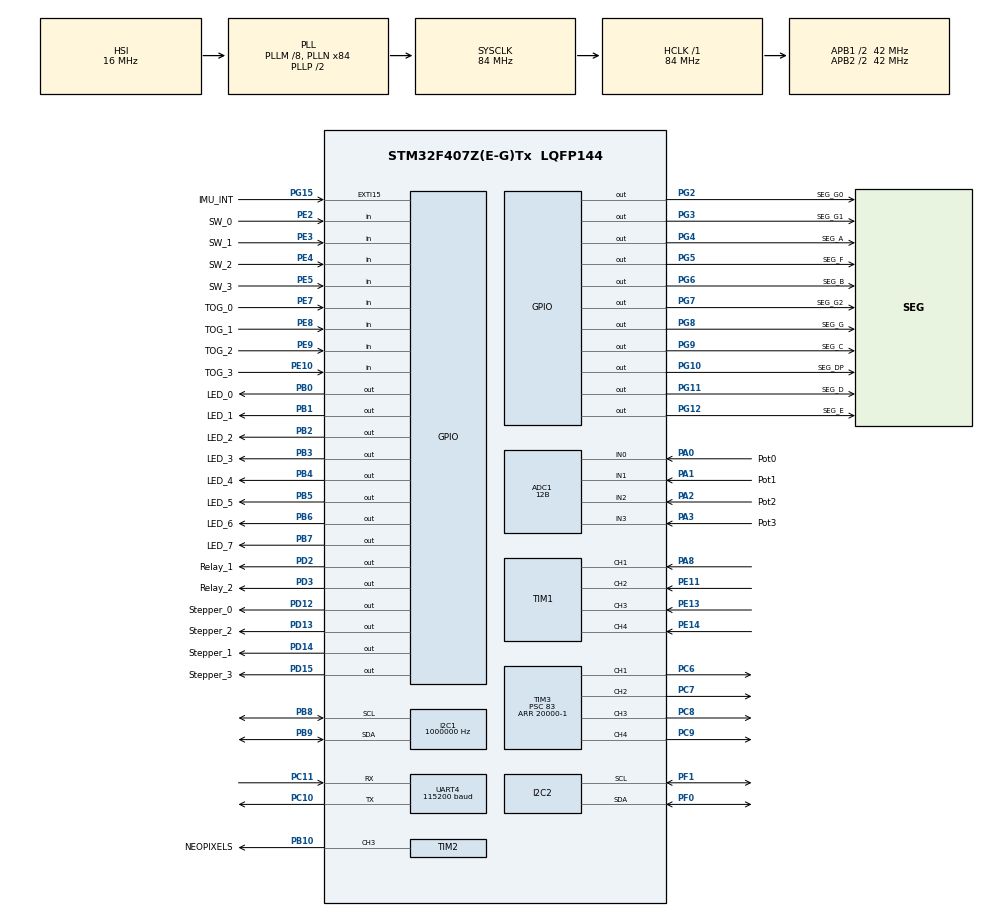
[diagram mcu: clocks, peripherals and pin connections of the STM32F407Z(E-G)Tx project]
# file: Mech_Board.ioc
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ADC1.Channel-0\#ChannelRegularConversion=ADC_CHANNEL_0
ADC1.Channel-1\#ChannelRegularConversion=ADC_CHANNEL_1
ADC1.Channel-2\#ChannelRegularConversion=ADC_CHANNEL_2
ADC1.Channel-3\#ChannelRegularConversion=ADC_CHANNEL_3
ADC1.ClockPrescaler=ADC_CLOCK_SYNC_PCLK_DIV8
ADC1.ContinuousConvMode=ENABLE
ADC1.DMAContinuousRequests=ENABLE
ADC1.DiscontinuousConvMode=DISABLE
ADC1.EOCSelection=ADC_EOC_SEQ_CONV
ADC1.NbrOfConversion=4
ADC1.NbrOfConversionFlag=1
ADC1.Rank-0\#ChannelRegularConversion=1
ADC1.Rank-1\#ChannelRegularConversion=2
ADC1.Rank-2\#ChannelRegularConversion=3
ADC1.Rank-3\#ChannelRegularConversion=4
ADC1.Resolution=ADC_RESOLUTION_12B
ADC1.SamplingTime-0\#ChannelRegularConversion=ADC_SAMPLETIME_3CYCLES
ADC1.SamplingTime-1\#ChannelRegularConversion=ADC_SAMPLETIME_3CYCLES
ADC1.SamplingTime-2\#ChannelRegularConversion=ADC_SAMPLETIME_3CYCLES
ADC1.SamplingTime-3\#ChannelRegularConversion=ADC_SAMPLETIME_3CYCLES
ADC1.ScanConvMode=ENABLE
ADC1.master=1
Dma.ADC1.1.Direction=DMA_PERIPH_TO_MEMORY
Dma.ADC1.1.FIFOMode=DMA_FIFOMODE_DISABLE
Dma.ADC1.1.Instance=DMA2_Stream0
Dma.ADC1.1.MemDataAlignment=DMA_MDATAALIGN_HALFWORD
Dma.ADC1.1.MemInc=DMA_MINC_ENABLE
Dma.ADC1.1.Mode=DMA_CIRCULAR
Dma.ADC1.1.PeriphDataAlignment=DMA_PDATAALIGN_HALFWORD
Dma.ADC1.1.PeriphInc=DMA_PINC_DISABLE
Dma.ADC1.1.Priority=DMA_PRIORITY_LOW
Dma.Request0=TIM2_UP/CH3
Dma.Request1=ADC1
Dma.Request2=UART4_RX
Dma.TIM2_UP/CH3.0.Direction=DMA_MEMORY_TO_PERIPH
Dma.TIM2_UP/CH3.0.FIFOMode=DMA_FIFOMODE_DISABLE
Dma.TIM2_UP/CH3.0.Instance=DMA1_Stream1
Dma.TIM2_UP/CH3.0.MemDataAlignment=DMA_MDATAALIGN_WORD
Dma.TIM2_UP/CH3.0.MemInc=DMA_MINC_ENABLE
Dma.TIM2_UP/CH3.0.Mode=DMA_NORMAL
Dma.TIM2_UP/CH3.0.PeriphDataAlignment=DMA_PDATAALIGN_WORD
Dma.TIM2_UP/CH3.0.PeriphInc=DMA_PINC_DISABLE
Dma.TIM2_UP/CH3.0.Priority=DMA_PRIORITY_MEDIUM
Dma.UART4_RX.2.Direction=DMA_PERIPH_TO_MEMORY
Dma.UART4_RX.2.FIFOMode=DMA_FIFOMODE_DISABLE
Dma.UART4_RX.2.Instance=DMA1_Stream2
Dma.UART4_RX.2.MemDataAlignment=DMA_MDATAALIGN_BYTE
Dma.UART4_RX.2.MemInc=DMA_MINC_ENABLE
Dma.UART4_RX.2.Mode=DMA_NORMAL
Dma.UART4_RX.2.PeriphDataAlignment=DMA_PDATAALIGN_BYTE
Dma.UART4_RX.2.PeriphInc=DMA_PINC_DISABLE
Dma.UART4_RX.2.Priority=DMA_PRIORITY_VERY_HIGH
I2C1.ClockSpeed=1000000
I2C1.I2C_Mode=I2C_Fast
I2C2.I2C_Mode=I2C_Standard
Mcu.Family=STM32F4
Mcu.Name=STM32F407Z(E-G)Tx
Mcu.Package=LQFP144
NVIC.DMA1_Stream1_IRQn=true\:0\:0\:true\:false\:true\:false\:true\:true
NVIC.DMA1_Stream2_IRQn=true\:0\:0\:false\:false\:true\:true\:true\:true
NVIC.DMA2_Stream0_IRQn=true\:0\:0\:false\:false\:true\:false\:true\:true
NVIC.EXTI15_10_IRQn=true\:0\:0\:false\:false\:true\:true\:true\:true
NVIC.PriorityGroup=NVIC_PRIORITYGROUP_4
NVIC.TIM1_CC_IRQn=true\:0\:0\:false\:false\:true\:true\:true\:true
NVIC.TIM2_IRQn=true\:0\:0\:false\:false\:true\:true\:true\:true
NVIC.TIM4_IRQn=true\:0\:0\:true\:false\:true\:true\:true\:true
NVIC.TIM5_IRQn=true\:0\:0\:false\:false\:true\:true\:true\:true
NVIC.TIM6_DAC_IRQn=true\:0\:0\:false\:false\:true\:true\:true\:true
NVIC.TIM7_IRQn=true\:0\:0\:true\:false\:true\:true\:true\:true
NVIC.TIM8_TRG_COM_TIM14_IRQn=true\:0\:0\:false\:false\:true\:true\:true\:true
NVIC.UART4_IRQn=true\:0\:0\:true\:false\:true\:true\:true\:true
PA0-WKUP.GPIO_Label=Pot0
PA0-WKUP.Signal=ADCx_IN0
PA1.GPIO_Label=Pot1
PA1.Signal=ADCx_IN1
PA2.GPIO_Label=Pot2
PA2.Signal=ADCx_IN2
PA3.GPIO_Label=Pot3
PA3.Signal=ADCx_IN3
PA8.Signal=S_TIM1_CH1
PB0.GPIO_Label=LED_0
PB0.Signal=GPIO_Output
PB1.GPIO_Label=LED_1
PB1.Signal=GPIO_Output
PB10.GPIO_Label=NEOPIXELS
PB10.GPIO_ModeDefaultPP=GPIO_MODE_AF_PP
PB10.GPIO_PuPd=GPIO_NOPULL
PB10.GPIO_Speed=GPIO_SPEED_FREQ_VERY_HIGH
PB10.Signal=S_TIM2_CH3
PB2.GPIO_Label=LED_2
PB2.Signal=GPIO_Output
PB3.GPIO_Label=LED_3
PB3.Signal=GPIO_Output
PB4.GPIO_Label=LED_4
PB4.Signal=GPIO_Output
PB5.GPIO_Label=LED_5
PB5.Signal=GPIO_Output
PB6.GPIO_Label=LED_6
PB6.Signal=GPIO_Output
PB7.GPIO_Label=LED_7
PB7.Signal=GPIO_Output
PB8.Mode=I2C
PB8.Signal=I2C1_SCL
PB9.Mode=I2C
PB9.Signal=I2C1_SDA
PC10.Mode=Asynchronous
PC10.Signal=UART4_TX
PC11.Mode=Asynchronous
PC11.Signal=UART4_RX
PC14-OSC32_IN.Mode=LSE-External-Oscillator
PC14-OSC32_IN.Signal=RCC_OSC32_IN
PC15-OSC32_OUT.Mode=LSE-External-Oscillator
PC15-OSC32_OUT.Signal=RCC_OSC32_OUT
PC6.Signal=S_TIM3_CH1
PC7.Signal=S_TIM3_CH2
PC8.Signal=S_TIM3_CH3
PC9.Signal=S_TIM3_CH4
PD12.GPIO_Label=Stepper_0
PD12.GPIO_Speed=GPIO_SPEED_FREQ_VERY_HIGH
PD12.Signal=GPIO_Output
PD13.GPIO_Label=Stepper_2
PD13.GPIO_Speed=GPIO_SPEED_FREQ_VERY_HIGH
PD13.Signal=GPIO_Output
PD14.GPIO_Label=Stepper_1
PD14.GPIO_Speed=GPIO_SPEED_FREQ_VERY_HIGH
PD14.Signal=GPIO_Output
PD15.GPIO_Label=Stepper_3
PD15.GPIO_Speed=GPIO_SPEED_FREQ_VERY_HIGH
PD15.Signal=GPIO_Output
PD2.GPIO_Label=Relay_1
PD2.GPIO_Speed=GPIO_SPEED_FREQ_VERY_HIGH
PD2.Signal=GPIO_Output
PD3.GPIO_Label=Relay_2
PD3.GPIO_Speed=GPIO_SPEED_FREQ_VERY_HIGH
PD3.Signal=GPIO_Output
PE10.GPIO_Label=TOG_3
PE10.Signal=GPIO_Input
PE11.Signal=S_TIM1_CH2
PE13.Signal=S_TIM1_CH3
PE14.Signal=S_TIM1_CH4
PE2.GPIO_Label=SW_0
PE2.Signal=GPIO_Input
PE3.GPIO_Label=SW_1
PE3.Signal=GPIO_Input
PE4.GPIO_Label=SW_2
PE4.Signal=GPIO_Input
PE5.GPIO_Label=SW_3
PE5.Signal=GPIO_Input
PE7.GPIO_Label=TOG_0
PE7.Signal=GPIO_Input
PE8.GPIO_Label=TOG_1
PE8.Signal=GPIO_Input
PE9.GPIO_Label=TOG_2
PE9.Signal=GPIO_Input
PF0.Mode=I2C
PF0.Signal=I2C2_SDA
PF1.Mode=I2C
PF1.Signal=I2C2_SCL
PG10.GPIO_Label=SEG_DP
PG10.Signal=GPIO_Output
PG11.GPIO_Label=SEG_D
PG11.GPIO_Speed=GPIO_SPEED_FREQ_VERY_HIGH
PG11.Signal=GPIO_Output
PG12.GPIO_Label=SEG_E
PG12.GPIO_Speed=GPIO_SPEED_FREQ_VERY_HIGH
PG12.PinState=GPIO_PIN_RESET
PG12.Signal=GPIO_Output
PG15.GPIO_Label=IMU_INT
PG15.GPIO_ModeDefaultEXTI=GPIO_MODE_IT_FALLING
PG15.GPIO_PuPd=GPIO_PULLUP
PG15.Signal=GPXTI15
PG2.GPIO_Label=SEG_G0
PG2.PinState=GPIO_PIN_RESET
PG2.Signal=GPIO_Output
PG3.GPIO_Label=SEG_G1
PG3.Signal=GPIO_Output
PG4.GPIO_Label=SEG_A
PG4.GPIO_Speed=GPIO_SPEED_FREQ_LOW
PG4.PinState=GPIO_PIN_RESET
PG4.Signal=GPIO_Output
PG5.GPIO_Label=SEG_F
PG5.GPIO_Speed=GPIO_SPEED_FREQ_LOW
PG5.Signal=GPIO_Output
PG6.GPIO_Label=SEG_B
PG6.GPIO_Speed=GPIO_SPEED_FREQ_LOW
PG6.Signal=GPIO_Output
PG7.GPIO_Label=SEG_G2
PG7.Signal=GPIO_Output
PG8.GPIO_Label=SEG_G
PG8.GPIO_Speed=GPIO_SPEED_FREQ_VERY_HIGH
PG8.Signal=GPIO_Output
PG9.GPIO_Label=SEG_C
PG9.GPIO_Speed=GPIO_SPEED_FREQ_VERY_HIGH
PG9.Signal=GPIO_Output
PH0-OSC_IN.Mode=HSE-External-Oscillator
PH0-OSC_IN.Signal=RCC_OSC_IN
PH1-OSC_OUT.Mode=HSE-External-Oscillator
PH1-OSC_OUT.Signal=RCC_OSC_OUT
ProjectManager.HeapSize=0x200
ProjectManager.StackSize=0x400
ProjectManager.TargetToolchain=Makefile
RCC.48MHZClocksFreq_Value=42000000
RCC.AHBFreq_Value=84000000
RCC.APB1CLKDivider=RCC_HCLK_DIV2
RCC.APB1Freq_Value=42000000
RCC.APB1TimFreq_Value=84000000
RCC.APB2CLKDivider=RCC_HCLK_DIV2
RCC.APB2Freq_Value=42000000
RCC.APB2TimFreq_Value=84000000
RCC.CortexFreq_Value=84000000
RCC.HCLKFreq_Value=84000000
RCC.HSE_VALUE=25000000
RCC.HSI_VALUE=16000000
RCC.PLLM=8
RCC.PLLN=84
RCC.SYSCLKFreq_VALUE=84000000
RCC.SYSCLKSource=RCC_SYSCLKSOURCE_PLLCLK
RCC.VCOOutputFreq_Value=168000000
SH.ADCx_IN0.0=ADC1_IN0,IN0
SH.ADCx_IN1.0=ADC1_IN1,IN1
SH.ADCx_IN2.0=ADC1_IN2,IN2
SH.ADCx_IN3.0=ADC1_IN3,IN3
SH.S_TIM1_CH1.0=TIM1_CH1,Input_Capture1_from_TI1
SH.S_TIM1_CH2.0=TIM1_CH2,Input_Capture2_from_TI2
SH.S_TIM1_CH3.0=TIM1_CH3,Input_Capture3_from_TI3
SH.S_TIM1_CH4.0=TIM1_CH4,Input_Capture4_from_TI4
SH.S_TIM2_CH3.0=TIM2_CH3,PWM Generation3 CH3
SH.S_TIM3_CH1.0=TIM3_CH1,PWM Generation1 CH1
SH.S_TIM3_CH2.0=TIM3_CH2,PWM Generation2 CH2
SH.S_TIM3_CH3.0=TIM3_CH3,PWM Generation3 CH3
SH.S_TIM3_CH4.0=TIM3_CH4,PWM Generation4 CH4
TIM1.Channel-Input_Capture1_from_TI1=TIM_CHANNEL_1
TIM1.Channel-Input_Capture2_from_TI2=TIM_CHANNEL_2
TIM1.Channel-Input_Capture3_from_TI3=TIM_CHANNEL_3
TIM1.Channel-Input_Capture4_from_TI4=TIM_CHANNEL_4
TIM1.ICPolarity_CH1=TIM_INPUTCHANNELPOLARITY_BOTHEDGE
TIM1.ICPolarity_CH2=TIM_INPUTCHANNELPOLARITY_BOTHEDGE
TIM1.ICPolarity_CH3=TIM_INPUTCHANNELPOLARITY_BOTHEDGE
TIM1.ICPolarity_CH4=TIM_INPUTCHANNELPOLARITY_BOTHEDGE
TIM14.AutoReloadPreload=TIM_AUTORELOAD_PRELOAD_ENABLE
TIM14.Period=1000-1
TIM14.Prescaler=8400-1
TIM2.AutoReloadPreload=TIM_AUTORELOAD_PRELOAD_DISABLE
TIM2.Channel-PWM\ Generation3\ CH3=TIM_CHANNEL_3
TIM2.OCFastMode_PWM-PWM\ Generation3\ CH3=TIM_OCFAST_DISABLE
TIM2.Period=104
TIM2.Prescaler=0
TIM3.AutoReloadPreload=TIM_AUTORELOAD_PRELOAD_ENABLE
TIM3.Channel-PWM\ Generation1\ CH1=TIM_CHANNEL_1
TIM3.Channel-PWM\ Generation2\ CH2=TIM_CHANNEL_2
TIM3.Channel-PWM\ Generation3\ CH3=TIM_CHANNEL_3
TIM3.Channel-PWM\ Generation4\ CH4=TIM_CHANNEL_4
TIM3.Period=20000-1
TIM3.Prescaler=83
TIM4.AutoReloadPreload=TIM_AUTORELOAD_PRELOAD_ENABLE
TIM4.ClockDivision=TIM_CLOCKDIVISION_DIV1
TIM4.Period=8400
TIM4.Prescaler=9999
TIM5.Period=10000-1
TIM5.Prescaler=(8400/3/60)-1
TIM6.AutoReloadPreload=TIM_AUTORELOAD_PRELOAD_ENABLE
TIM6.Period=1000-1
TIM6.Prescaler=8400-1
TIM7.Period=10000-1
TIM7.Prescaler=(8400/3/240)-1
UART4.BaudRate=115200
UART4.VirtualMode=Asynchronous
VP_TIM14_VS_ClockSourceINT.Mode=Enable_Timer
VP_TIM1_VS_ClockSourceINT.Mode=Internal
VP_TIM2_VS_ClockSourceINT.Mode=Internal
VP_TIM3_VS_ClockSourceINT.Mode=Internal
VP_TIM4_VS_ClockSourceINT.Mode=Internal
VP_TIM5_VS_ClockSourceINT.Mode=Internal
VP_TIM6_VS_ClockSourceINT.Mode=Enable_Timer
VP_TIM7_VS_ClockSourceINT.Mode=Enable_Timer
VP_TIM8_VS_ClockSourceINT.Mode=Internal
board=custom

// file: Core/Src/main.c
/* USER CODE BEGIN Header */
/**
  ******************************************************************************
  * @file           : main.c
  * @brief          : Main program body
  * @authors        : Jesse Jabez Arendse
  ******************************************************************************
  * @attention
  *
  * Copyright (c) 2023 STMicroelectronics.
  * All rights reserved.
  *
  * This software is licensed under terms that can be found in the LICENSE file
  * in the root directory of this software component.
  * If no LICENSE file comes with this software, it is provided AS-IS.
  *
  ******************************************************************************
  */
/* USER CODE END Header */
#include "main.h"

/* USER CODE BEGIN Includes */
#include <math.h>
#include <string.h>
#include <stdio.h>
#include <stdbool.h>

#include "7SegDisplay.h"
#include "CurrentMonitor.h"
#include "Pots.h"
#include "IMU.h"
#include "StepperMotor.h"
#include "ServoMotors.h"
#include "Relays.h"
#include "NeoPixels.h"
#include "USB.h"

/* USER CODE END Includes */

/* USER CODE BEGIN PTD */
typedef enum {
    WAITING_FOR_HEADER,
	WAITING_FOR_DATA,
    RESPONDING
} fsm;

/* USER CODE END PTD */

/* USER CODE BEGIN PD */
#define MPU_ADDRESS		0b1101001<<1

#define DATA_LEN 19

/* USER CODE END PD */

ADC_HandleTypeDef hadc1;
DMA_HandleTypeDef hdma_adc1;

I2C_HandleTypeDef hi2c1;
I2C_HandleTypeDef hi2c2;

TIM_HandleTypeDef htim1;
TIM_HandleTypeDef htim2;
TIM_HandleTypeDef htim3;
TIM_HandleTypeDef htim4;
TIM_HandleTypeDef htim5;
TIM_HandleTypeDef htim6;
TIM_HandleTypeDef htim7;
TIM_HandleTypeDef htim8;
TIM_HandleTypeDef htim14;
DMA_HandleTypeDef hdma_tim2_up_ch3;

UART_HandleTypeDef huart4;
DMA_HandleTypeDef hdma_uart4_rx;

/* USER CODE BEGIN PV */

uint16_t POTS[ADC_CHANNEL_NUM];
const uint8_t adcChannelCount = 4;

volatile bool switch_states[8];
uint8_t switch_states_uint8 = 0;

volatile bool LED_states[8];

volatile bool Relay_states[8];

volatile uint8_t NeoPixel_states[4][3];

// X,Y,Z
volatile float IMU_Accel[3];
volatile float IMU_Gyro[3];

// V,I
volatile int16_t CurrentMonitor_Barrel[2];
volatile int16_t CurrentMonitor_Servo[2];
volatile int16_t CurrentMonitor_Stepper[2];

volatile uint8_t SEG_number_state[4];
float actualSegNumber = 0.0f;

volatile uint8_t Servo_state[4][3][2];
uint16_t actualServoState[4][3];

volatile uint8_t StepperMode_state;
volatile uint8_t StepperRevolution_state[2];
uint16_t actualStepperRevolution = 0;
volatile uint8_t StepperSpeed_state[2];
uint16_t actualStepperNumber = 0;

const uint8_t header1 = 0b10010010; //seemed unique enough
const uint8_t header2 = 0b01001001;

char message[] = "Transmission\r\n"; /* Message to be transmitted through UART */

fsm state = WAITING_FOR_HEADER;

uint8_t cmd_id = 0x00;

/* USER CODE END PV */

void SystemClock_Config(void);
static void MX_GPIO_Init(void);
static void MX_DMA_Init(void);
static void MX_TIM2_Init(void);
static void MX_I2C1_Init(void);
static void MX_ADC1_Init(void);
static void MX_TIM7_Init(void);
static void MX_TIM6_Init(void);
static void MX_I2C2_Init(void);
static void MX_TIM4_Init(void);
static void MX_TIM1_Init(void);
static void MX_TIM3_Init(void);
static void MX_TIM5_Init(void);
static void MX_UART4_Init(void);
static void MX_TIM14_Init(void);
static void MX_TIM8_Init(void);
/* USER CODE BEGIN PFP */

// converts bool array to a 8-bit byte for easy register writing
uint8_t toByte(bool bool_array[]){
  return (bool_array[0]<<7|
          bool_array[1]<<6|
          bool_array[2]<<5|
          bool_array[3]<<4|
          bool_array[4]<<3|
          bool_array[5]<<2|
          bool_array[6]<<1|
          bool_array[7]<<0
  );
}

int32_t signNumber32(uint32_t unsignedValue){
	int32_t signedValue;

	if (unsignedValue <= INT32_MAX) {
        signedValue = (int32_t)unsignedValue; // No change needed, it fits in the signed range.
    } else {
        signedValue = -((int32_t)(UINT32_MAX - unsignedValue + 1));
    }

	return signedValue;
}

/* USER CODE END PFP */

/* USER CODE BEGIN 0 */

uint8_t UART4_txBuffer[6] = {0};

void sendToSimulink(void){
  // Get toggle states
	switch_states[7] = HAL_GPIO_ReadPin(TOG_0_GPIO_Port, TOG_0_Pin);
	switch_states[6] = HAL_GPIO_ReadPin(TOG_1_GPIO_Port, TOG_1_Pin);
	switch_states[5] = HAL_GPIO_ReadPin(TOG_2_GPIO_Port, TOG_2_Pin);
	switch_states[4] = HAL_GPIO_ReadPin(TOG_3_GPIO_Port, TOG_3_Pin);
	// Get button states (inverted because normally high)
	switch_states[3] = !HAL_GPIO_ReadPin(SW_0_GPIO_Port, SW_0_Pin);
	switch_states[2] = !HAL_GPIO_ReadPin(SW_1_GPIO_Port, SW_1_Pin);
	switch_states[1] = !HAL_GPIO_ReadPin(SW_2_GPIO_Port, SW_2_Pin);
	switch_states[0] = !HAL_GPIO_ReadPin(SW_3_GPIO_Port, SW_3_Pin);

  switch_states_uint8 = toByte(switch_states);

    HAL_UART_Transmit(&huart4, (uint8_t *)&header1, sizeof(header1), 10);
    HAL_UART_Transmit(&huart4, (uint8_t *)&POTS, sizeof(POTS), 10);
    HAL_UART_Transmit(&huart4, (uint8_t *)&switch_states_uint8, sizeof(switch_states_uint8), 10);
    HAL_UART_Transmit(&huart4, (float_t *)&IMU_Accel, sizeof(IMU_Accel), 10);
    HAL_UART_Transmit(&huart4, (float_t *)&IMU_Gyro, sizeof(IMU_Gyro), 10);

    HAL_UART_Transmit(&huart4, (int16_t *)&CurrentMonitor_Barrel, sizeof(CurrentMonitor_Barrel), 10);
    HAL_UART_Transmit(&huart4, (int16_t *)&CurrentMonitor_Servo, sizeof(CurrentMonitor_Servo), 10);
    HAL_UART_Transmit(&huart4, (int16_t *)&CurrentMonitor_Stepper, sizeof(CurrentMonitor_Stepper), 10);
}

void updateBoard(void){
// Update LED states
	HAL_GPIO_WritePin(LED_0_GPIO_Port, LED_0_Pin, LED_states[0]);
	HAL_GPIO_WritePin(LED_1_GPIO_Port, LED_1_Pin, LED_states[1]);
	HAL_GPIO_WritePin(LED_2_GPIO_Port, LED_2_Pin, LED_states[2]);
	HAL_GPIO_WritePin(LED_3_GPIO_Port, LED_3_Pin, LED_states[3]);
	HAL_GPIO_WritePin(LED_4_GPIO_Port, LED_4_Pin, LED_states[4]);
	HAL_GPIO_WritePin(LED_5_GPIO_Port, LED_5_Pin, LED_states[5]);
	HAL_GPIO_WritePin(LED_6_GPIO_Port, LED_6_Pin, LED_states[6]);
	HAL_GPIO_WritePin(LED_7_GPIO_Port, LED_7_Pin, LED_states[7]);

// Update Relays states
  setRelay(RELAY_1,Relay_states[0]);
  setRelay(RELAY_2,Relay_states[1]);

// Update NeoPixels
  for (int i = 0 ; i<4 ; i++){
  set_RGB(NeoPixel_states[i][0],NeoPixel_states[i][1],NeoPixel_states[i][2],i);
  }

//Update 7-Seg
  actualSegNumber = (SEG_number_state[0] << 8*0)
                      | (SEG_number_state[1] << 8*1)
                      | (SEG_number_state[2] << 8*2)
                      | (SEG_number_state[3] << 8*3);
  actualSegNumber = actualSegNumber/1000.0f;
  setFloatNumber(actualSegNumber);

//Update Servo Motors
  for (int i = 0 ; i < 4 ; i++){
    actualServoState[i][0] = (Servo_state[i][0][0] << 8*0) | (Servo_state[i][0][1] << 8*1);
    actualServoState[i][1] = (Servo_state[i][1][0] << 8*0) | (Servo_state[i][1][1] << 8*1);
    actualServoState[i][2] = (Servo_state[i][2][0] << 8*0) | (Servo_state[i][2][1] << 8*1);

    if (actualServoState[i][0] != 0){
      init_ServoMotor(i+1,SERVO_FREQUENCY_50,actualServoState[i][0],actualServoState[i][1]);
      setServoAngle(i+1,actualServoState[i][2]);
    }
  }

// Update Stepper Motor
  actualStepperRevolution = ((StepperRevolution_state[0] << 8*1)
                         | (StepperRevolution_state[1] << 8*0));

  actualStepperNumber = ((StepperSpeed_state[0] << 8*1)
                         | (StepperSpeed_state[1] << 8*0));

  init_StepperMotor(StepperMode_state,actualStepperRevolution,WITHOUT_LEDS);
  setStepperSpeed(actualStepperNumber);

}

bool timedout = false;
uint8_t headerBuffer[2];
uint8_t bigBuffer[49] = {0};
uint8_t UART4_rxBuffer[47] = {0};

void receivedFromSimulink(){
  // check for recognised header byte

  if (bigBuffer[0] == header1 && bigBuffer[1] == header2){

      for (int i = 0 ; i < sizeof(UART4_rxBuffer) ; i++){
        UART4_rxBuffer[i] = bigBuffer[i+2];
      }
// LEDs
      for (int i = 7; i >= 0; i--) {
        LED_states[i] = (UART4_rxBuffer[0 ] >> i) & 1;
      }

// Relays
      for (int i = 7; i >= 0; i--) {
        Relay_states[i] = (UART4_rxBuffer[1 ] >> i) & 1;
      }

// NeoPixels
      NeoPixel_states[0][0] = UART4_rxBuffer[2  ];
      NeoPixel_states[0][1] = UART4_rxBuffer[3  ];
      NeoPixel_states[0][2] = UART4_rxBuffer[4  ];

      NeoPixel_states[1][0] = UART4_rxBuffer[5  ];
      NeoPixel_states[1][1] = UART4_rxBuffer[6  ];
      NeoPixel_states[1][2] = UART4_rxBuffer[7  ];

      NeoPixel_states[2][0] = UART4_rxBuffer[8  ];
      NeoPixel_states[2][1] = UART4_rxBuffer[9  ];
      NeoPixel_states[2][2] = UART4_rxBuffer[10 ];

      NeoPixel_states[3][0] = UART4_rxBuffer[11 ];
      NeoPixel_states[3][1] = UART4_rxBuffer[12 ];
      NeoPixel_states[3][2] = UART4_rxBuffer[13 ];

// 7 Seg
      for (int i = 0; i < 4; i++) {
        SEG_number_state[i] = (UART4_rxBuffer[14+i ]);
      }

// Servo Motor
      for (int i = 0; i < 4; i++) {
        Servo_state[i][0][0] = (UART4_rxBuffer[18 + (i*2)    +1 ]);
        Servo_state[i][0][1] = (UART4_rxBuffer[18 + (i*2)+1  +1 ]); //max angle

        Servo_state[i][1][0] = (UART4_rxBuffer[19 + (i*2)   + 8 ]);
        Servo_state[i][1][1] = (UART4_rxBuffer[19 + (i*2)+1 + 8 ]); //starting time

        Servo_state[i][2][0] = (UART4_rxBuffer[20 + (i*2)   + 15]);
        Servo_state[i][2][1] = (UART4_rxBuffer[20 + (i*2)+1 + 15]); //servo angle
      }

// Stepper Motor
      StepperMode_state = UART4_rxBuffer[42];

      for (int i = 0; i < 2; i++) {
        StepperRevolution_state[i] = (UART4_rxBuffer[43+i]);
      }

      for (int i = 0; i < 2; i++) {
        StepperSpeed_state[i] = (UART4_rxBuffer[45+i]);
      }

      updateBoard();
  }

}

/* USER CODE END 0 */

int main(void)
{

  /* MCU Configuration--------------------------------------------------------*/

  /* Reset of all peripherals, Initializes the Flash interface and the Systick. */
  HAL_Init();

  /* Configure the system clock */
  SystemClock_Config();

  /* Initialize all configured peripherals */
  MX_GPIO_Init();
  MX_DMA_Init();
  MX_TIM2_Init();
  MX_I2C1_Init();
  MX_ADC1_Init();
  MX_TIM7_Init();
  MX_TIM6_Init();
  MX_I2C2_Init();
  MX_TIM4_Init();
  MX_TIM1_Init();
  MX_TIM3_Init();
  MX_TIM5_Init();
  MX_UART4_Init();
  MX_TIM14_Init();
  MX_TIM8_Init();
  /* USER CODE BEGIN 2 */

  init_7SegDisplay();
  init_POTs(NONE);
  init_IMU();

  for (int i = 0 ; i < 4 ; i++){
    init_ServoMotor(i,50,90,0);
    setServoAngle(i,0);
  }
  init_AllCurrentMonitors();
  /* USER CODE END 2 */

  /* Infinite loop */
  /* USER CODE BEGIN WHILE */
while (1)
  {
    while (HAL_UART_Receive_DMA(&huart4,(uint8_t *) &bigBuffer, sizeof(bigBuffer)) == HAL_BUSY){}
    receivedFromSimulink();
    sendToSimulink();
    /* USER CODE END WHILE */

  }
}

void SystemClock_Config(void)
{
  RCC_OscInitTypeDef RCC_OscInitStruct = {0};
  RCC_ClkInitTypeDef RCC_ClkInitStruct = {0};

  /** Configure the main internal regulator output voltage
  */
  __HAL_RCC_PWR_CLK_ENABLE();
  __HAL_PWR_VOLTAGESCALING_CONFIG(PWR_REGULATOR_VOLTAGE_SCALE1);

  /** Initializes the RCC Oscillators according to the specified parameters
  * in the RCC_OscInitTypeDef structure.
  */
  RCC_OscInitStruct.OscillatorType = RCC_OSCILLATORTYPE_HSI;
  RCC_OscInitStruct.HSIState = RCC_HSI_ON;
  RCC_OscInitStruct.HSICalibrationValue = RCC_HSICALIBRATION_DEFAULT;
  RCC_OscInitStruct.PLL.PLLState = RCC_PLL_ON;
  RCC_OscInitStruct.PLL.PLLSource = RCC_PLLSOURCE_HSI;
  RCC_OscInitStruct.PLL.PLLM = 8;
  RCC_OscInitStruct.PLL.PLLN = 84;
  RCC_OscInitStruct.PLL.PLLP = RCC_PLLP_DIV2;
  RCC_OscInitStruct.PLL.PLLQ = 4;
  if (HAL_RCC_OscConfig(&RCC_OscInitStruct) != HAL_OK)
  {
    Error_Handler();
  }

  /** Initializes the CPU, AHB and APB buses clocks
  */
  RCC_ClkInitStruct.ClockType = RCC_CLOCKTYPE_HCLK|RCC_CLOCKTYPE_SYSCLK
                              |RCC_CLOCKTYPE_PCLK1|RCC_CLOCKTYPE_PCLK2;
  RCC_ClkInitStruct.SYSCLKSource = RCC_SYSCLKSOURCE_PLLCLK;
  RCC_ClkInitStruct.AHBCLKDivider = RCC_SYSCLK_DIV1;
  RCC_ClkInitStruct.APB1CLKDivider = RCC_HCLK_DIV2;
  RCC_ClkInitStruct.APB2CLKDivider = RCC_HCLK_DIV2;

  if (HAL_RCC_ClockConfig(&RCC_ClkInitStruct, FLASH_LATENCY_2) != HAL_OK)
  {
    Error_Handler();
  }
}

static void MX_ADC1_Init(void)
{

  ADC_ChannelConfTypeDef sConfig = {0};

  /** Configure the global features of the ADC (Clock, Resolution, Data Alignment and number of conversion)
  */
  hadc1.Instance = ADC1;
  hadc1.Init.ClockPrescaler = ADC_CLOCK_SYNC_PCLK_DIV8;
  hadc1.Init.Resolution = ADC_RESOLUTION_12B;
  hadc1.Init.ScanConvMode = ENABLE;
  hadc1.Init.ContinuousConvMode = ENABLE;
  hadc1.Init.DiscontinuousConvMode = DISABLE;
  hadc1.Init.ExternalTrigConvEdge = ADC_EXTERNALTRIGCONVEDGE_NONE;
  hadc1.Init.ExternalTrigConv = ADC_SOFTWARE_START;
  hadc1.Init.DataAlign = ADC_DATAALIGN_RIGHT;
  hadc1.Init.NbrOfConversion = 4;
  hadc1.Init.DMAContinuousRequests = ENABLE;
  hadc1.Init.EOCSelection = ADC_EOC_SEQ_CONV;
  if (HAL_ADC_Init(&hadc1) != HAL_OK)
  {
    Error_Handler();
  }

  /** Configure for the selected ADC regular channel its corresponding rank in the sequencer and its sample time.
  */
  sConfig.Channel = ADC_CHANNEL_0;
  sConfig.Rank = 1;
  sConfig.SamplingTime = ADC_SAMPLETIME_3CYCLES;
  if (HAL_ADC_ConfigChannel(&hadc1, &sConfig) != HAL_OK)
  {
    Error_Handler();
  }

  /** Configure for the selected ADC regular channel its corresponding rank in the sequencer and its sample time.
  */
  sConfig.Channel = ADC_CHANNEL_1;
  sConfig.Rank = 2;
  if (HAL_ADC_ConfigChannel(&hadc1, &sConfig) != HAL_OK)
  {
    Error_Handler();
  }

  /** Configure for the selected ADC regular channel its corresponding rank in the sequencer and its sample time.
  */
  sConfig.Channel = ADC_CHANNEL_2;
  sConfig.Rank = 3;
  if (HAL_ADC_ConfigChannel(&hadc1, &sConfig) != HAL_OK)
  {
    Error_Handler();
  }

  /** Configure for the selected ADC regular channel its corresponding rank in the sequencer and its sample time.
  */
  sConfig.Channel = ADC_CHANNEL_3;
  sConfig.Rank = 4;
  if (HAL_ADC_ConfigChannel(&hadc1, &sConfig) != HAL_OK)
  {
    Error_Handler();
  }

}

static void MX_I2C1_Init(void)
{

  hi2c1.Instance = I2C1;
  hi2c1.Init.ClockSpeed = 1000000;
  hi2c1.Init.DutyCycle = I2C_DUTYCYCLE_2;
  hi2c1.Init.OwnAddress1 = 0;
  hi2c1.Init.AddressingMode = I2C_ADDRESSINGMODE_7BIT;
  hi2c1.Init.DualAddressMode = I2C_DUALADDRESS_DISABLE;
  hi2c1.Init.OwnAddress2 = 0;
  hi2c1.Init.GeneralCallMode = I2C_GENERALCALL_DISABLE;
  hi2c1.Init.NoStretchMode = I2C_NOSTRETCH_DISABLE;
  if (HAL_I2C_Init(&hi2c1) != HAL_OK)
  {
    Error_Handler();
  }

}

static void MX_I2C2_Init(void)
{

  hi2c2.Instance = I2C2;
  hi2c2.Init.ClockSpeed = 100000;
  hi2c2.Init.DutyCycle = I2C_DUTYCYCLE_2;
  hi2c2.Init.OwnAddress1 = 0;
  hi2c2.Init.AddressingMode = I2C_ADDRESSINGMODE_7BIT;
  hi2c2.Init.DualAddressMode = I2C_DUALADDRESS_DISABLE;
  hi2c2.Init.OwnAddress2 = 0;
  hi2c2.Init.GeneralCallMode = I2C_GENERALCALL_DISABLE;
  hi2c2.Init.NoStretchMode = I2C_NOSTRETCH_DISABLE;
  if (HAL_I2C_Init(&hi2c2) != HAL_OK)
  {
    Error_Handler();
  }

}

static void MX_TIM1_Init(void)
{

  TIM_ClockConfigTypeDef sClockSourceConfig = {0};
  TIM_MasterConfigTypeDef sMasterConfig = {0};
  TIM_IC_InitTypeDef sConfigIC = {0};

  htim1.Instance = TIM1;
  htim1.Init.Prescaler = 0;
  htim1.Init.CounterMode = TIM_COUNTERMODE_UP;
  htim1.Init.Period = 65535;
  htim1.Init.ClockDivision = TIM_CLOCKDIVISION_DIV1;
  htim1.Init.RepetitionCounter = 0;
  htim1.Init.AutoReloadPreload = TIM_AUTORELOAD_PRELOAD_DISABLE;
  if (HAL_TIM_Base_Init(&htim1) != HAL_OK)
  {
    Error_Handler();
  }
  sClockSourceConfig.ClockSource = TIM_CLOCKSOURCE_INTERNAL;
  if (HAL_TIM_ConfigClockSource(&htim1, &sClockSourceConfig) != HAL_OK)
  {
    Error_Handler();
  }
  if (HAL_TIM_IC_Init(&htim1) != HAL_OK)
  {
    Error_Handler();
  }
  sMasterConfig.MasterOutputTrigger = TIM_TRGO_RESET;
  sMasterConfig.MasterSlaveMode = TIM_MASTERSLAVEMODE_DISABLE;
  if (HAL_TIMEx_MasterConfigSynchronization(&htim1, &sMasterConfig) != HAL_OK)
  {
    Error_Handler();
  }
  sConfigIC.ICPolarity = TIM_INPUTCHANNELPOLARITY_BOTHEDGE;
  sConfigIC.ICSelection = TIM_ICSELECTION_DIRECTTI;
  sConfigIC.ICPrescaler = TIM_ICPSC_DIV1;
  sConfigIC.ICFilter = 0;
  if (HAL_TIM_IC_ConfigChannel(&htim1, &sConfigIC, TIM_CHANNEL_1) != HAL_OK)
  {
    Error_Handler();
  }
  if (HAL_TIM_IC_ConfigChannel(&htim1, &sConfigIC, TIM_CHANNEL_2) != HAL_OK)
  {
    Error_Handler();
  }
  if (HAL_TIM_IC_ConfigChannel(&htim1, &sConfigIC, TIM_CHANNEL_3) != HAL_OK)
  {
    Error_Handler();
  }
  if (HAL_TIM_IC_ConfigChannel(&htim1, &sConfigIC, TIM_CHANNEL_4) != HAL_OK)
  {
    Error_Handler();
  }

}

static void MX_TIM2_Init(void)
{

  TIM_ClockConfigTypeDef sClockSourceConfig = {0};
  TIM_MasterConfigTypeDef sMasterConfig = {0};
  TIM_OC_InitTypeDef sConfigOC = {0};

  htim2.Instance = TIM2;
  htim2.Init.Prescaler = 0;
  htim2.Init.CounterMode = TIM_COUNTERMODE_UP;
  htim2.Init.Period = 104;
  htim2.Init.ClockDivision = TIM_CLOCKDIVISION_DIV1;
  htim2.Init.AutoReloadPreload = TIM_AUTORELOAD_PRELOAD_DISABLE;
  if (HAL_TIM_Base_Init(&htim2) != HAL_OK)
  {
    Error_Handler();
  }
  sClockSourceConfig.ClockSource = TIM_CLOCKSOURCE_INTERNAL;
  if (HAL_TIM_ConfigClockSource(&htim2, &sClockSourceConfig) != HAL_OK)
  {
    Error_Handler();
  }
  if (HAL_TIM_PWM_Init(&htim2) != HAL_OK)
  {
    Error_Handler();
  }
  sMasterConfig.MasterOutputTrigger = TIM_TRGO_RESET;
  sMasterConfig.MasterSlaveMode = TIM_MASTERSLAVEMODE_DISABLE;
  if (HAL_TIMEx_MasterConfigSynchronization(&htim2, &sMasterConfig) != HAL_OK)
  {
    Error_Handler();
  }
  sConfigOC.OCMode = TIM_OCMODE_PWM1;
  sConfigOC.Pulse = 0;
  sConfigOC.OCPolarity = TIM_OCPOLARITY_HIGH;
  sConfigOC.OCFastMode = TIM_OCFAST_DISABLE;
  if (HAL_TIM_PWM_ConfigChannel(&htim2, &sConfigOC, TIM_CHANNEL_3) != HAL_OK)
  {
    Error_Handler();
  }
  HAL_TIM_MspPostInit(&htim2);

}

static void MX_TIM3_Init(void)
{

  TIM_ClockConfigTypeDef sClockSourceConfig = {0};
  TIM_MasterConfigTypeDef sMasterConfig = {0};
  TIM_OC_InitTypeDef sConfigOC = {0};

  htim3.Instance = TIM3;
  htim3.Init.Prescaler = 83;
  htim3.Init.CounterMode = TIM_COUNTERMODE_UP;
  htim3.Init.Period = 20000-1;
  htim3.Init.ClockDivision = TIM_CLOCKDIVISION_DIV1;
  htim3.Init.AutoReloadPreload = TIM_AUTORELOAD_PRELOAD_ENABLE;
  if (HAL_TIM_Base_Init(&htim3) != HAL_OK)
  {
    Error_Handler();
  }
  sClockSourceConfig.ClockSource = TIM_CLOCKSOURCE_INTERNAL;
  if (HAL_TIM_ConfigClockSource(&htim3, &sClockSourceConfig) != HAL_OK)
  {
    Error_Handler();
  }
  if (HAL_TIM_PWM_Init(&htim3) != HAL_OK)
  {
    Error_Handler();
  }
  sMasterConfig.MasterOutputTrigger = TIM_TRGO_RESET;
  sMasterConfig.MasterSlaveMode = TIM_MASTERSLAVEMODE_DISABLE;
  if (HAL_TIMEx_MasterConfigSynchronization(&htim3, &sMasterConfig) != HAL_OK)
  {
    Error_Handler();
  }
  sConfigOC.OCMode = TIM_OCMODE_PWM1;
  sConfigOC.Pulse = 0;
  sConfigOC.OCPolarity = TIM_OCPOLARITY_HIGH;
  sConfigOC.OCFastMode = TIM_OCFAST_DISABLE;
  if (HAL_TIM_PWM_ConfigChannel(&htim3, &sConfigOC, TIM_CHANNEL_1) != HAL_OK)
  {
    Error_Handler();
  }
  if (HAL_TIM_PWM_ConfigChannel(&htim3, &sConfigOC, TIM_CHANNEL_2) != HAL_OK)
  {
    Error_Handler();
  }
  if (HAL_TIM_PWM_ConfigChannel(&htim3, &sConfigOC, TIM_CHANNEL_3) != HAL_OK)
  {
    Error_Handler();
  }
  if (HAL_TIM_PWM_ConfigChannel(&htim3, &sConfigOC, TIM_CHANNEL_4) != HAL_OK)
  {
    Error_Handler();
  }
  HAL_TIM_MspPostInit(&htim3);

}

static void MX_TIM4_Init(void)
{

  TIM_ClockConfigTypeDef sClockSourceConfig = {0};
  TIM_MasterConfigTypeDef sMasterConfig = {0};

  htim4.Instance = TIM4;
  htim4.Init.Prescaler = 9999;
  htim4.Init.CounterMode = TIM_COUNTERMODE_UP;
  htim4.Init.Period = 8400;
  htim4.Init.ClockDivision = TIM_CLOCKDIVISION_DIV1;
  htim4.Init.AutoReloadPreload = TIM_AUTORELOAD_PRELOAD_ENABLE;
  if (HAL_TIM_Base_Init(&htim4) != HAL_OK)
  {
    Error_Handler();
  }
  sClockSourceConfig.ClockSource = TIM_CLOCKSOURCE_INTERNAL;
  if (HAL_TIM_ConfigClockSource(&htim4, &sClockSourceConfig) != HAL_OK)
  {
    Error_Handler();
  }
  sMasterConfig.MasterOutputTrigger = TIM_TRGO_RESET;
  sMasterConfig.MasterSlaveMode = TIM_MASTERSLAVEMODE_DISABLE;
  if (HAL_TIMEx_MasterConfigSynchronization(&htim4, &sMasterConfig) != HAL_OK)
  {
    Error_Handler();
  }

}

static void MX_TIM5_Init(void)
{

  TIM_ClockConfigTypeDef sClockSourceConfig = {0};
  TIM_MasterConfigTypeDef sMasterConfig = {0};

  htim5.Instance = TIM5;
  htim5.Init.Prescaler = (8400/3/60)-1;
  htim5.Init.CounterMode = TIM_COUNTERMODE_UP;
  htim5.Init.Period = 10000-1;
  htim5.Init.ClockDivision = TIM_CLOCKDIVISION_DIV1;
  htim5.Init.AutoReloadPreload = TIM_AUTORELOAD_PRELOAD_DISABLE;
  if (HAL_TIM_Base_Init(&htim5) != HAL_OK)
  {
    Error_Handler();
  }
  sClockSourceConfig.ClockSource = TIM_CLOCKSOURCE_INTERNAL;
  if (HAL_TIM_ConfigClockSource(&htim5, &sClockSourceConfig) != HAL_OK)
  {
    Error_Handler();
  }
  sMasterConfig.MasterOutputTrigger = TIM_TRGO_RESET;
  sMasterConfig.MasterSlaveMode = TIM_MASTERSLAVEMODE_DISABLE;
  if (HAL_TIMEx_MasterConfigSynchronization(&htim5, &sMasterConfig) != HAL_OK)
  {
    Error_Handler();
  }

}

static void MX_TIM6_Init(void)
{

  TIM_MasterConfigTypeDef sMasterConfig = {0};

  htim6.Instance = TIM6;
  htim6.Init.Prescaler = 8400-1;
  htim6.Init.CounterMode = TIM_COUNTERMODE_UP;
  htim6.Init.Period = 1000-1;
  htim6.Init.AutoReloadPreload = TIM_AUTORELOAD_PRELOAD_ENABLE;
  if (HAL_TIM_Base_Init(&htim6) != HAL_OK)
  {
    Error_Handler();
  }
  sMasterConfig.MasterOutputTrigger = TIM_TRGO_RESET;
  sMasterConfig.MasterSlaveMode = TIM_MASTERSLAVEMODE_DISABLE;
  if (HAL_TIMEx_MasterConfigSynchronization(&htim6, &sMasterConfig) != HAL_OK)
  {
    Error_Handler();
  }

}

static void MX_TIM7_Init(void)
{

  TIM_MasterConfigTypeDef sMasterConfig = {0};

  /* USER CODE BEGIN TIM7_Init 1 */

  // prescalar and ARR setup to theoretically achieve 240Hz display refresh rate
  /* USER CODE END TIM7_Init 1 */
  htim7.Instance = TIM7;
  htim7.Init.Prescaler = (8400/3/240)-1;
  htim7.Init.CounterMode = TIM_COUNTERMODE_UP;
  htim7.Init.Period = 10000-1;
  htim7.Init.AutoReloadPreload = TIM_AUTORELOAD_PRELOAD_DISABLE;
  if (HAL_TIM_Base_Init(&htim7) != HAL_OK)
  {
    Error_Handler();
  }
  sMasterConfig.MasterOutputTrigger = TIM_TRGO_RESET;
  sMasterConfig.MasterSlaveMode = TIM_MASTERSLAVEMODE_DISABLE;
  if (HAL_TIMEx_MasterConfigSynchronization(&htim7, &sMasterConfig) != HAL_OK)
  {
    Error_Handler();
  }

}

static void MX_TIM8_Init(void)
{

  TIM_ClockConfigTypeDef sClockSourceConfig = {0};
  TIM_MasterConfigTypeDef sMasterConfig = {0};

  htim8.Instance = TIM8;
  htim8.Init.Prescaler = 0;
  htim8.Init.CounterMode = TIM_COUNTERMODE_UP;
  htim8.Init.Period = 65535;
  htim8.Init.ClockDivision = TIM_CLOCKDIVISION_DIV1;
  htim8.Init.RepetitionCounter = 0;
  htim8.Init.AutoReloadPreload = TIM_AUTORELOAD_PRELOAD_DISABLE;
  if (HAL_TIM_Base_Init(&htim8) != HAL_OK)
  {
    Error_Handler();
  }
  sClockSourceConfig.ClockSource = TIM_CLOCKSOURCE_INTERNAL;
  if (HAL_TIM_ConfigClockSource(&htim8, &sClockSourceConfig) != HAL_OK)
  {
    Error_Handler();
  }
  sMasterConfig.MasterOutputTrigger = TIM_TRGO_RESET;
  sMasterConfig.MasterSlaveMode = TIM_MASTERSLAVEMODE_DISABLE;
  if (HAL_TIMEx_MasterConfigSynchronization(&htim8, &sMasterConfig) != HAL_OK)
  {
    Error_Handler();
  }

}

static void MX_TIM14_Init(void)
{

  htim14.Instance = TIM14;
  htim14.Init.Prescaler = 8400-1;
  htim14.Init.CounterMode = TIM_COUNTERMODE_UP;
  htim14.Init.Period = 1000-1;
  htim14.Init.ClockDivision = TIM_CLOCKDIVISION_DIV1;
  htim14.Init.AutoReloadPreload = TIM_AUTORELOAD_PRELOAD_ENABLE;
  if (HAL_TIM_Base_Init(&htim14) != HAL_OK)
  {
    Error_Handler();
  }

}

static void MX_UART4_Init(void)
{

  huart4.Instance = UART4;
  huart4.Init.BaudRate = 115200;
  huart4.Init.WordLength = UART_WORDLENGTH_8B;
  huart4.Init.StopBits = UART_STOPBITS_1;
  huart4.Init.Parity = UART_PARITY_NONE;
  huart4.Init.Mode = UART_MODE_TX_RX;
  huart4.Init.HwFlowCtl = UART_HWCONTROL_NONE;
  huart4.Init.OverSampling = UART_OVERSAMPLING_16;
  if (HAL_UART_Init(&huart4) != HAL_OK)
  {
    Error_Handler();
  }

}

static void MX_DMA_Init(void)
{

  /* DMA controller clock enable */
  __HAL_RCC_DMA1_CLK_ENABLE();
  __HAL_RCC_DMA2_CLK_ENABLE();

  /* DMA interrupt init */
  /* DMA1_Stream1_IRQn interrupt configuration */
  HAL_NVIC_SetPriority(DMA1_Stream1_IRQn, 0, 0);
  HAL_NVIC_EnableIRQ(DMA1_Stream1_IRQn);
  /* DMA1_Stream2_IRQn interrupt configuration */
  HAL_NVIC_SetPriority(DMA1_Stream2_IRQn, 0, 0);
  HAL_NVIC_EnableIRQ(DMA1_Stream2_IRQn);
  /* DMA2_Stream0_IRQn interrupt configuration */
  HAL_NVIC_SetPriority(DMA2_Stream0_IRQn, 0, 0);
  HAL_NVIC_EnableIRQ(DMA2_Stream0_IRQn);

}

static void MX_GPIO_Init(void)
{
  GPIO_InitTypeDef GPIO_InitStruct = {0};

  /* GPIO Ports Clock Enable */
  __HAL_RCC_GPIOE_CLK_ENABLE();
  __HAL_RCC_GPIOC_CLK_ENABLE();
  __HAL_RCC_GPIOF_CLK_ENABLE();
  __HAL_RCC_GPIOH_CLK_ENABLE();
  __HAL_RCC_GPIOA_CLK_ENABLE();
  __HAL_RCC_GPIOB_CLK_ENABLE();
  __HAL_RCC_GPIOD_CLK_ENABLE();
  __HAL_RCC_GPIOG_CLK_ENABLE();

  /*Configure GPIO pin Output Level */
  HAL_GPIO_WritePin(GPIOB, LED_0_Pin|LED_1_Pin|LED_2_Pin|LED_3_Pin
                          |LED_4_Pin|LED_5_Pin|LED_6_Pin|LED_7_Pin, GPIO_PIN_RESET);

  /*Configure GPIO pin Output Level */
  HAL_GPIO_WritePin(GPIOD, Stepper_0_Pin|Stepper_2_Pin|Stepper_1_Pin|Stepper_3_Pin
                          |Relay_1_Pin|Relay_2_Pin, GPIO_PIN_RESET);

  /*Configure GPIO pin Output Level */
  HAL_GPIO_WritePin(GPIOG, SEG_G0_Pin|SEG_G1_Pin|SEG_A_Pin|SEG_F_Pin
                          |SEG_B_Pin|SEG_G2_Pin|SEG_G_Pin|SEG_C_Pin
                          |SEG_DP_Pin|SEG_D_Pin|SEG_E_Pin, GPIO_PIN_RESET);

  /*Configure GPIO pins : SW_0_Pin SW_1_Pin SW_2_Pin SW_3_Pin
                           TOG_0_Pin TOG_1_Pin TOG_2_Pin TOG_3_Pin */
  GPIO_InitStruct.Pin = SW_0_Pin|SW_1_Pin|SW_2_Pin|SW_3_Pin
                          |TOG_0_Pin|TOG_1_Pin|TOG_2_Pin|TOG_3_Pin;
  GPIO_InitStruct.Mode = GPIO_MODE_INPUT;
  GPIO_InitStruct.Pull = GPIO_NOPULL;
  HAL_GPIO_Init(GPIOE, &GPIO_InitStruct);

  /*Configure GPIO pins : LED_0_Pin LED_1_Pin LED_2_Pin LED_3_Pin
                           LED_4_Pin LED_5_Pin LED_6_Pin LED_7_Pin */
  GPIO_InitStruct.Pin = LED_0_Pin|LED_1_Pin|LED_2_Pin|LED_3_Pin
                          |LED_4_Pin|LED_5_Pin|LED_6_Pin|LED_7_Pin;
  GPIO_InitStruct.Mode = GPIO_MODE_OUTPUT_PP;
  GPIO_InitStruct.Pull = GPIO_NOPULL;
  GPIO_InitStruct.Speed = GPIO_SPEED_FREQ_LOW;
  HAL_GPIO_Init(GPIOB, &GPIO_InitStruct);

  /*Configure GPIO pins : Stepper_0_Pin Stepper_2_Pin Stepper_1_Pin Stepper_3_Pin
                           Relay_1_Pin Relay_2_Pin */
  GPIO_InitStruct.Pin = Stepper_0_Pin|Stepper_2_Pin|Stepper_1_Pin|Stepper_3_Pin
                          |Relay_1_Pin|Relay_2_Pin;
  GPIO_InitStruct.Mode = GPIO_MODE_OUTPUT_PP;
  GPIO_InitStruct.Pull = GPIO_NOPULL;
  GPIO_InitStruct.Speed = GPIO_SPEED_FREQ_VERY_HIGH;
  HAL_GPIO_Init(GPIOD, &GPIO_InitStruct);

  /*Configure GPIO pins : SEG_G0_Pin SEG_G1_Pin SEG_A_Pin SEG_F_Pin
                           SEG_B_Pin SEG_G2_Pin SEG_DP_Pin */
  GPIO_InitStruct.Pin = SEG_G0_Pin|SEG_G1_Pin|SEG_A_Pin|SEG_F_Pin
                          |SEG_B_Pin|SEG_G2_Pin|SEG_DP_Pin;
  GPIO_InitStruct.Mode = GPIO_MODE_OUTPUT_PP;
  GPIO_InitStruct.Pull = GPIO_NOPULL;
  GPIO_InitStruct.Speed = GPIO_SPEED_FREQ_LOW;
  HAL_GPIO_Init(GPIOG, &GPIO_InitStruct);

  /*Configure GPIO pins : SEG_G_Pin SEG_C_Pin SEG_D_Pin SEG_E_Pin */
  GPIO_InitStruct.Pin = SEG_G_Pin|SEG_C_Pin|SEG_D_Pin|SEG_E_Pin;
  GPIO_InitStruct.Mode = GPIO_MODE_OUTPUT_PP;
  GPIO_InitStruct.Pull = GPIO_NOPULL;
  GPIO_InitStruct.Speed = GPIO_SPEED_FREQ_VERY_HIGH;
  HAL_GPIO_Init(GPIOG, &GPIO_InitStruct);

  /*Configure GPIO pin : IMU_INT_Pin */
  GPIO_InitStruct.Pin = IMU_INT_Pin;
  GPIO_InitStruct.Mode = GPIO_MODE_IT_FALLING;
  GPIO_InitStruct.Pull = GPIO_PULLUP;
  HAL_GPIO_Init(IMU_INT_GPIO_Port, &GPIO_InitStruct);

  /* EXTI interrupt init*/
  HAL_NVIC_SetPriority(EXTI15_10_IRQn, 0, 0);
  HAL_NVIC_EnableIRQ(EXTI15_10_IRQn);

}

void Error_Handler(void)
{
  __disable_irq();
  while (1)
  {
  }
}
